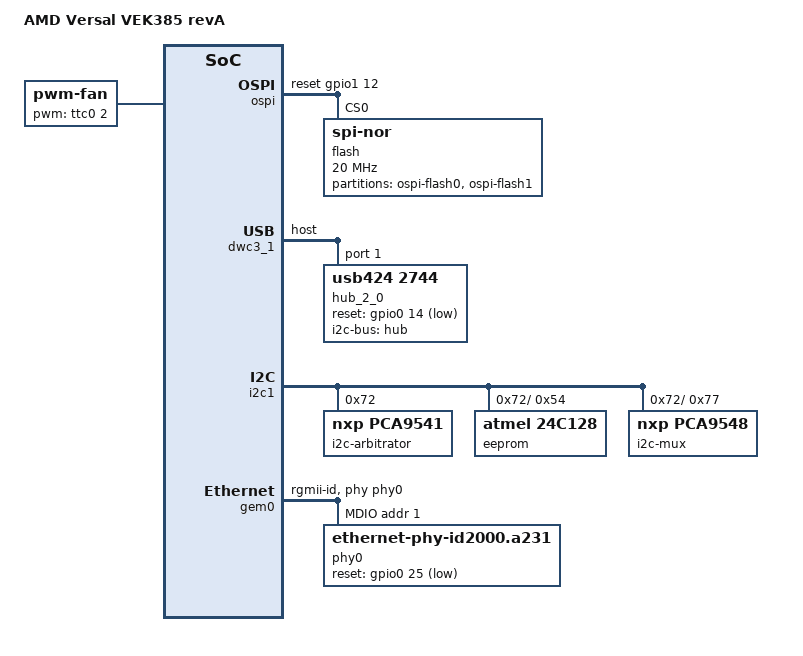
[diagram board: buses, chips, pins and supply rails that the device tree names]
// SPDX-License-Identifier: GPL-2.0
/*
 * dts file for AMD VEK385 revA
 *
 * Copyright (C) 2024, Advanced Micro Devices, Inc.
 *
 * Michal Simek <michal.simek@amd.com>
 */

#include "include/dt-bindings/gpio/gpio.h"
#include "include/dt-bindings/net/ti-dp83867.h"

/ {
	compatible = "amd,versal2";
	model = "AMD Versal VEK385 revA";

	chosen {
		bootargs = "earlycon=pl011,mmio32,0xf1930000 console=ttyAMA0,115200";
		stdout-path = "serial0:115200n8";
	};

	reserved-memory {
		#address-cells = <2>;
		#size-cells = <2>;
		ranges;

		/* TF-A, TEE, RPUs */
		/* FIXME Uncomment after VNC */
		/* memory@20000000 {
			no-map;
			reg = <0 0 0 0x20000000>;
		};
		*/
	};

	firmware {
		optee: optee { /* Should be injected by firmware */
			compatible = "linaro,optee-tz";
			method = "smc";
		};

		psci: psci { /* Should be injected by firmware */
			compatible = "arm,psci-1.0";
			method = "smc";
		};
	};

	pwm-fan {
		compatible = "pwm-fan";
		status = "okay";
		pwms = <&ttc0 2 40000 1>;
	};
};

/* u272 - TPS66993BAR usb, i2c, DP */
/* CAN at LPD_MIO12-13 FIXME */
/* CAN at LPD_MIO21-22 FIXME */

&ospi { /* PMC_MIO0-10, MIO12 */
	reset-names = "qspi";
	reset-gpios = <&gpio1 12 0>; /* FIXME reset via regs is possible too */
	#address-cells = <1>;
	#size-cells = <0>;

	flash@0 {
		compatible = "jedec,spi-nor"; /* u25 */
		spi-max-frequency = <20000000>; /* FIXME maybe wrong */
		spi-rx-bus-width = <8>;
		spi-tx-bus-width = <8>;
		cdns,tslch-ns = <1>;
		cdns,tchsh-ns = <1>;
		cdns,tsd2d-ns = <0>;
		cdns,tshsl-ns = <0>;
		cdns,read-delay = <0>;
		#size-cells = <1>;
		#address-cells = <1>;
		reg = <0>;
		no-wp;

		partitions {
			#size-cells = <1>;
			#address-cells = <1>;
			compatible = "fixed-partitions";

			partition@0 {
				reg = <0x0 0x200000>;
				label = "ospi-flash0";
			};

			partition@1 {
				reg = <0x200000 0x3e00000>;
				label = "ospi-flash1";
			};
		};
	};
};

&dwc3_1 {
	dr_mode = "host";
	maximum-speed = "high-speed";
	#address-cells = <1>;
	#size-cells = <0>;

	/* 2.0 hub on port 1 */
	hub_2_0: hub@1 {
		compatible = "usb424,2744";
		reg = <1>;
		i2c-bus = <&hub>;
		reset-gpios = <&gpio0 14 GPIO_ACTIVE_LOW>;
	};
	/* USB 3.0 is not connected */
	/* port 0 u109 USB-SD converter */
	/* port 1/2 to connector */
};

&i2c0 { /* PMC_MIO42-43 */
	/* board_i2c0 - FMC */
};

&i2c1 { /* PMC_MIO44-45 */
	#address-cells = <1>;
	#size-cells = <0>;

	i2c-arbitrator@72 { /* u161 */
		compatible = "nxp,pca9541";
		reg = <0x72>;

		/* board_i2c1 */
		i2c-arb {
			#address-cells = <1>;
			#size-cells = <0>;
			eeprom: eeprom@54 { /* u35 - also at address 0x5C */
				compatible = "atmel,24c128";
				reg = <0x54>;
				/* wp via SC */
			};

			i2c-mux@77 { /* u253 - WRONG design */
				compatible = "nxp,pca9548";
				#address-cells = <1>;
				#size-cells = <0>;
				reg = <0x77>;
				/* 0 - 3 connected but not described */
				i2c@4 {
					#address-cells = <1>;
					#size-cells = <0>;
					reg = <4>;
					/* usb0_hub */
					hub: usb-hub@74 { /* u111 - FIXME address is weird */
						compatible = "microchip,usb5744";
						status = "disabled";
						reg = <0x74>;
					};

				};
				/* 5 - 7 not connected */
			};
		};
	};
};

&ttc0 { /* PMC_MIO49 FAN_PWM */
	#pwm-cells = <3>;
};

&gem0 { /* MDIO PMC_MIO50/51, MIO0-11 */
	phy-handle = <&phy0>;
	phy-mode = "rgmii-id";

	mdio: mdio {
		#address-cells = <1>;
		#size-cells = <0>;

		phy0: ethernet-phy@1 { /* u112 */
			#phy-cells = <1>;
			reg = <1>;
			compatible = "ethernet-phy-id2000.a231";
			ti,rx-internal-delay = <DP83867_RGMIIDCTL_2_25_NS>;
			ti,tx-internal-delay = <DP83867_RGMIIDCTL_2_75_NS>;
			ti,fifo-depth = <DP83867_PHYCR_FIFO_DEPTH_4_B_NIB>;
			ti,dp83867-rxctrl-strap-quirk;
			reset-assert-us = <100>;
			reset-deassert-us = <280>;
			reset-gpios = <&gpio0 25 GPIO_ACTIVE_LOW>;
		};
	};
};
